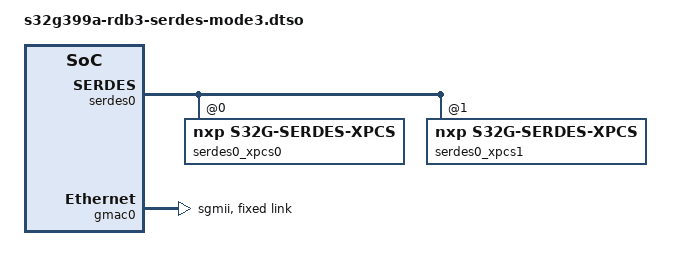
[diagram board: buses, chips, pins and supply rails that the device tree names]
// SPDX-License-Identifier: (GPL-2.0+ OR BSD-3-Clause)
/*
 * Copyright 2021-2026 NXP
 *
 * NXP S32G3 Reference Design Board 3 (S32G-VNP-RDB3),
 * SerDes_0 Mode 3: dual SGMII, GMAC0 (XPCS0, lane 0) + PFE_EMAC_2
 * (XPCS1, lane 1), both 1G.
 *
 * Overlay applied on top of s32g399a-rdb3.dtb. It reroutes GMAC0 from the
 * on-board RGMII PHY to the SerDes_0 XPCS0 lane. The lane-1 XPCS1
 * (PFE_EMAC_2) is described so the mode is derivable and both XPCS
 * instances are initialised; it has no upstream MAC consumer in this
 * device tree. The lane layout present here selects SerDes SUBSYS_MODE 3.
 */

/dts-v1/;
/plugin/;

&serdes0 {
	#address-cells = <1>;
	#size-cells = <0>;
	status = "okay";

	/* Mode 3 lane layout: GMAC SGMII (XPCS0) on lane 0, PFE2 (XPCS1) on lane 1. */
	serdes0_xpcs0: phy@0 {
		reg = <0>;
		compatible = "nxp,s32g-serdes-xpcs";
		nxp,xpcs-instance = <0>;
	};

	serdes0_xpcs1: phy@1 {
		reg = <1>;
		compatible = "nxp,s32g-serdes-xpcs";
		nxp,xpcs-instance = <1>;
	};
};

&gmac0 {
	/delete-property/ phy-handle;
	clocks = <&clks 24>, <&clks 17>, <&clks 16>, <&clks 15>;
	clock-names = "stmmaceth", "tx", "rx", "ptp_ref";
	phy-mode = "sgmii";
	pcs-handle = <&serdes0_xpcs0>;
	status = "okay";

	/*
	 * GMAC0 is wired back-to-back to the on-board SJA1110 switch over
	 * this SGMII lane. There is no PHY on the segment, so there is
	 * nothing to reference with phy-handle: the link partner is a
	 * switch port. Describe it as a fixed 1G link; phylink then uses
	 * out-of-band negotiation. The switch itself is not described by
	 * this overlay. The PCS also supports in-band negotiation, for
	 * boards whose link partner is described.
	 */
	fixed-link {
		speed = <1000>;
		full-duplex;
		pause;
	};
};
